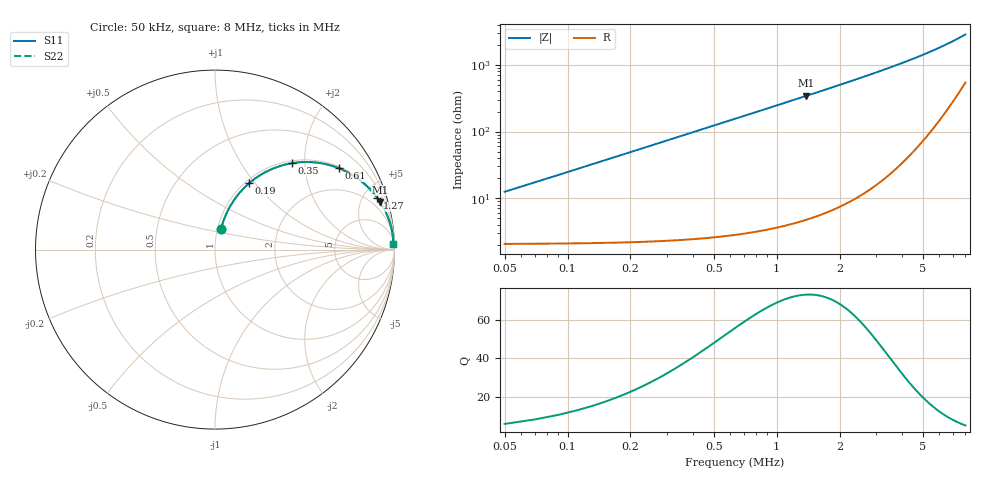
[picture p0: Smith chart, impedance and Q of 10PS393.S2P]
! Coilcraft 1008PS-393 Power Chip Inductor
! 7 October 2002
# MHZ S MA R 50
!Freq  MagS11  AngS11  MagS21  AngS21  MagS12  AngS12  MagS22  AngS22
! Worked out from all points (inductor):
!   399 points, 50 kHz to 8 MHz, reference 50 ohm
!   read as one part in series: L = 39 uH near 70 kHz
!   highest Q = 73 at 1.39 MHz (marker M1), where L = 39.4 uH
!   S11 on the Smith chart (normalised r, x): 50 kHz: 1.04, +0.25; 190 kHz: 1.04, +0.93; 350 kHz: 1.05, +1.72; 610 kHz: 1.06, +3.00; 1.27 MHz: 1.09, +6.28; 8 MHz: 12, +57
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0.05  0.1209 73.7  0.973 -6.8  0.973 -6.8  0.1209 73.7
0.07  0.1669 73.6  0.9663 -9.5  0.9663 -9.5  0.1669 73.6
0.09  0.2121 72.4  0.9576 -12.2  0.9576 -12.2  0.2121 72.4
0.11  0.2561 70.8  0.9471 -14.8  0.9471 -14.8  0.2561 70.8
0.15  0.3393 66.9  0.9214 -19.8  0.9214 -19.8  0.3393 66.9
0.19  0.4152 62.8  0.8907 -24.5  0.8907 -24.5  0.4152 62.8
0.23  0.4834 58.9  0.8568 -28.9  0.8568 -28.9  0.4834 58.9
0.27  0.5437 55.1  0.821 -32.9  0.821 -32.9  0.5437 55.1
0.35  0.6428 48.5  0.7487 -40.0  0.7487 -40.0  0.6428 48.5
0.47  0.7475 40.4  0.6481 -48.4  0.6481 -48.4  0.7475 40.4
0.61  0.8248 33.4  0.5505 -55.6  0.5505 -55.6  0.8248 33.4
0.73  0.8674 28.9  0.4834 -60.1  0.4834 -60.1  0.8674 28.9
0.89  0.9046 24.4  0.4128 -64.8  0.4128 -64.8  0.9046 24.4
1.07  0.9308 20.6  0.3526 -68.5  0.3526 -68.5  0.9308 20.6
1.27  0.9491 17.6  0.3021 -71.6  0.3021 -71.6  0.9491 17.6
1.39  0.9568 16.1  0.2778 -73.1  0.2778 -73.1  0.9568 16.1
1.99  0.9777 11.3  0.196 -77.9  0.196 -77.9  0.9777 11.3
2.71  0.9872 8.2  0.1425 -80.8  0.1425 -80.8  0.9872 8.2
4.03  0.9929 5.2  0.09144 -82.9  0.09144 -82.9  0.9929 5.2
5.35  0.9942 3.7  0.06404 -82.9  0.06404 -82.9  0.9942 3.7
6.69  0.9939 2.6  0.04641 -81.1  0.04641 -81.1  0.9939 2.6
8  0.9929 1.9  0.03449 -77.2  0.03449 -77.2  0.9929 1.9
